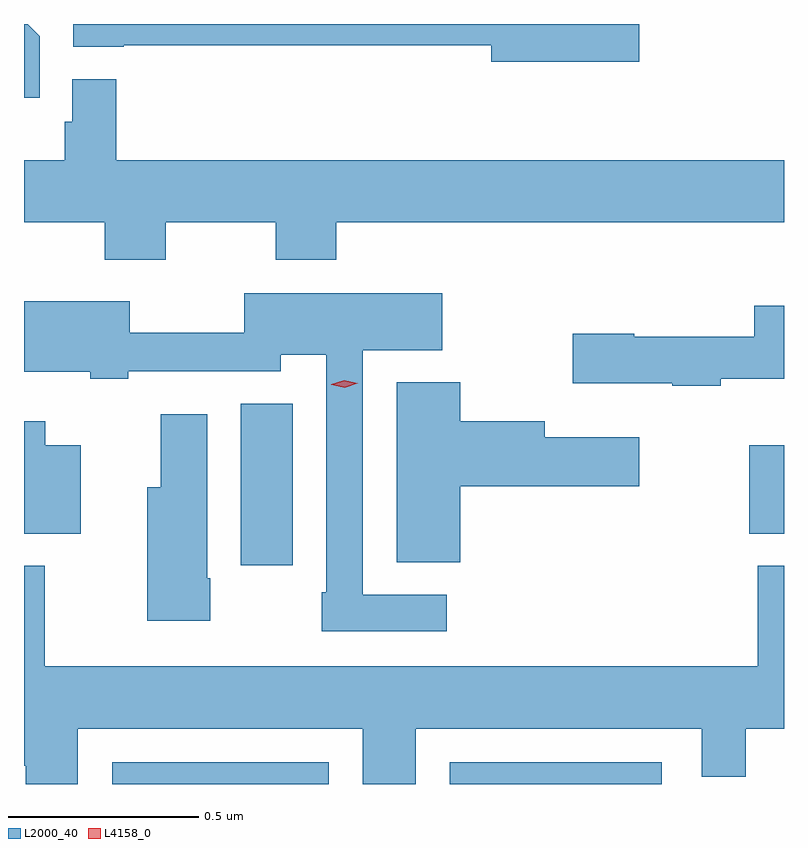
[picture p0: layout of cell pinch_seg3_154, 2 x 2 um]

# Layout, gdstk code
import gdstk
lib = gdstk.Library(unit=1e-6, precision=1e-09)
def R(c, l, rs):  # rectangles x0, y0, x1, y1
    for r in rs: c.add(gdstk.rectangle(r[:2], r[2:], *l))
def P(c, l, *ps):  # polygons
    for p in ps: c.add(gdstk.Polygon(p, *l))
L2000_40 = (2000, 40)
L4158_0 = (4158, 0)

pinch_seg3_154 = lib.new_cell('pinch_seg3_154')
R(pinch_seg3_154, L2000_40, [(1105.404,722.082,1105.974,722.139), (1106.292,722.082,1106.85,722.139), (1105.742,722.658,1105.879,723.083), (1107.08,722.741,1107.172,722.974)])
P(pinch_seg3_154, L2000_40, [(1105.214,724.05),(1105.182,724.082),(1105.172,724.082),(1105.172,723.888),(1105.214,723.888)],
  [(1106.791,724.082),(1105.301,724.082),(1105.301,724.022),(1105.434,724.022),(1105.434,724.026),(1106.402,724.026),(1106.402,723.983),(1106.791,723.983)],
  [(1105.415,723.937),(1105.299,723.937),(1105.299,723.825),(1105.279,723.825),(1105.279,723.724),(1105.172,723.724),(1105.172,723.56),(1105.385,723.56),(1105.385,723.461),(1105.545,723.461),(1105.545,723.56),(1105.834,723.56),(1105.834,723.461),(1105.994,723.461),(1105.994,723.56),(1107.172,723.56),(1107.172,723.724),(1105.415,723.724)],
  [(1106.284,722.58),(1106.064,722.58),(1106.064,723.224),(1106.272,723.224),(1106.272,723.373),(1105.752,723.373),(1105.752,723.269),(1105.45,723.269),(1105.45,723.352),(1105.172,723.352),(1105.172,723.167),(1105.346,723.167),(1105.346,723.148),(1105.446,723.148),(1105.446,723.168),(1105.848,723.168),(1105.848,723.212),(1105.968,723.212),(1105.968,722.587),(1105.956,722.587),(1105.956,722.484),(1106.284,722.484)],
  [(1107.005,723.149),(1107.172,723.149),(1107.172,723.34),(1107.094,723.34),(1107.094,723.259),(1106.778,723.259),(1106.778,723.267),(1106.616,723.267),(1106.616,723.137),(1106.878,723.137),(1106.878,723.13),(1107.005,723.13)],
  [(1106.32,722.866),(1106.791,722.866),(1106.791,722.995),(1106.542,722.995),(1106.542,723.037),(1106.32,723.037),(1106.32,723.139),(1106.153,723.139),(1106.153,722.665),(1106.32,722.665)],
  [(1105.662,722.623),(1105.654,722.623),(1105.654,723.055),(1105.532,723.055),(1105.532,722.863),(1105.496,722.863),(1105.496,722.511),(1105.662,722.511)],
  [(1105.321,722.974),(1105.228,722.974),(1105.228,723.037),(1105.172,723.037),(1105.172,722.741),(1105.321,722.741)],
  [(1105.314,722.228),(1106.064,722.228),(1106.064,722.082),(1106.203,722.082),(1106.203,722.228),(1106.955,722.228),(1106.955,722.101),(1107.071,722.101),(1107.071,722.228),(1107.172,722.228),(1107.172,722.656),(1107.103,722.656),(1107.103,722.392),(1105.226,722.392),(1105.226,722.656),(1105.172,722.656),(1105.172,722.13),(1105.177,722.13),(1105.177,722.082),(1105.314,722.082)])
P(pinch_seg3_154, L4158_0, [(1106.016,723.125),(1105.981,723.133),(1105.981,723.134),(1105.981,723.134),(1106.015,723.145),(1106.05,723.136),(1106.05,723.136),(1106.05,723.136)])

lib.write_gds('pinch_seg3_154.gds')
